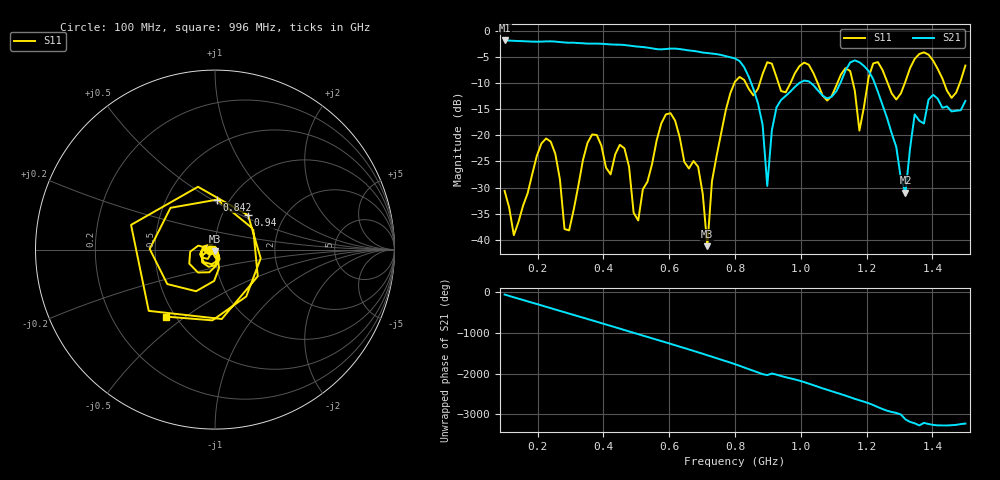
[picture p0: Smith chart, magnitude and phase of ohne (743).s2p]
! NanoVNA-App
! Date: 2025-09-25 14:26:35
! Start: 100MHz Stop: 1,5GHz Points: 101
! S-Parameter data: F S11 S21 S12 S22
# Hz S RI R 50
!  Frequency  S11_Real  S11_Imag  S21_Real  S21_Imag  S12_Real  S12_Imag  S22_Real  S22_Imag
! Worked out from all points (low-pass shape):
!   101 points, 100 MHz to 1.5 GHz, reference 50 ohm
!   highest |S21| = -1.79 dB at 100 MHz (marker M1); lowest = -31.0 dB at 1.318 GHz (marker M2)
!   |S21| within 3 dB of the highest: start of sweep to 771.2 MHz
!   lowest |S11| = -41.2 dB at 716 MHz (marker M3), VSWR 1.02, Z = 49.8 - j0.85 ohm
!   |S11| at or under -10 dB: start of sweep to 798 MHz; 833.1 MHz to 875.1 MHz (41.97 MHz wide, 4.91 % of centre); 1.052 GHz to 1.111 GHz (59.25 MHz wide, 5.48 % of centre) (the widest 3 of 7)
!   S12 and S22 are empty: the file has one direction only
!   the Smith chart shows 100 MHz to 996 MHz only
!   S11 on the Smith chart (normalised r, x): 100 MHz: 0.94, -0.01; 842 MHz: 0.88, +0.53; 940 MHz: 1.32, +0.55; 996 MHz: 0.45, -0.42
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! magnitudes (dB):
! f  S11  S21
! 100 MHz  -30.6  -1.8
! 128 MHz  -39.1  -1.9
! 226 MHz  -20.6  -2.0
! 296 MHz  -38.2  -2.2
! 338 MHz  -24.7  -2.3
! 464 MHz  -22.5  -2.7
! 506 MHz  -36.3  -3.0
! 576 MHz  -17.7  -3.5
! 688 MHz  -26.0  -3.9
! 716 MHz  -41.2  -4.2
! 800 MHz  -9.7  -5.2
! 842 MHz  -11.1  -8.8
! 898 MHz  -6.0  -29.7
! 940 MHz  -11.5  -13.2
! 996 MHz  -6.7  -9.9
! 1.038 GHz  -8.0  -10.4
! 1.178 GHz  -19.1  -6.0
! 1.22 GHz  -6.2  -9.2
! 1.276 GHz  -11.9  -19.6
! 1.318 GHz  -9.6  -31.0
! 1.346 GHz  -5.3  -16.0
! 1.5 GHz  -6.6  -13.4
